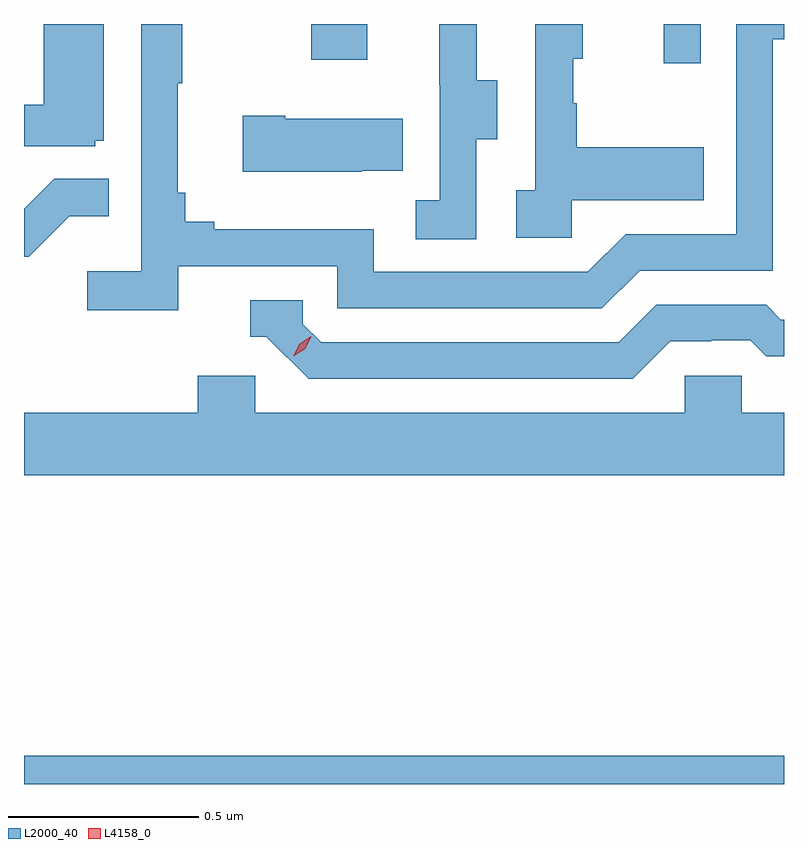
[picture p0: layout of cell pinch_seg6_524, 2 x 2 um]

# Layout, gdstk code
import gdstk
lib = gdstk.Library(unit=1e-6, precision=1e-09)
def R(c, l, rs):  # rectangles x0, y0, x1, y1
    for r in rs: c.add(gdstk.rectangle(r[:2], r[2:], *l))
def P(c, l, *ps):  # polygons
    for p in ps: c.add(gdstk.Polygon(p, *l))
L2000_40 = (2000, 40)
L4158_0 = (4158, 0)

pinch_seg6_524 = lib.new_cell('pinch_seg6_524')
R(pinch_seg6_524, L2000_40, [(862.15,923.879,864.15,923.954), (863.834,925.776,863.931,925.879), (862.906,925.785,863.053,925.879)])
P(pinch_seg6_524, L2000_40, [(862.556,925.242),(862.974,925.242),(862.974,925.131),(863.671,925.131),(863.77,925.23),(864.12,925.23),(864.12,925.839),(864.15,925.839),(864.15,925.879),(864.024,925.879),(864.024,925.326),(863.733,925.326),(863.634,925.227),(863.07,925.227),(863.07,925.339),(862.651,925.339),(862.651,925.358),(862.574,925.358),(862.574,925.435),(862.555,925.435),(862.555,925.723),(862.567,925.723),(862.567,925.879),(862.458,925.879),(862.458,925.228),(862.317,925.228),(862.317,925.126),(862.556,925.126)],
  [(863.34,925.576),(863.395,925.576),(863.395,925.731),(863.341,925.731),(863.341,925.879),(863.243,925.879),(863.243,925.719),(863.244,925.719),(863.244,925.415),(863.181,925.415),(863.181,925.312),(863.34,925.312)],
  [(862.338,925.572),(862.36,925.572),(862.36,925.879),(862.202,925.879),(862.202,925.666),(862.15,925.666),(862.15,925.557),(862.338,925.557)],
  [(863.592,925.415),(863.939,925.415),(863.939,925.555),(863.605,925.555),(863.605,925.67),(863.595,925.67),(863.595,925.788),(863.62,925.788),(863.62,925.879),(863.496,925.879),(863.496,925.442),(863.445,925.442),(863.445,925.317),(863.592,925.317)],
  [(863.039,925.493),(863.147,925.493),(863.147,925.63),(862.837,925.63),(862.837,925.638),(862.725,925.638),(862.725,925.49),(863.039,925.49)],
  [(862.269,925.373),(862.373,925.373),(862.373,925.472),(862.229,925.472),(862.15,925.393),(862.15,925.266),(862.162,925.266)],
  [(863.851,925.044),(863.958,925.044),(863.958,925.047),(864.061,925.047),(864.103,925.005),(864.15,925.005),(864.15,925.101),(864.142,925.101),(864.103,925.14),(863.814,925.14),(863.715,925.041),(862.932,925.041),(862.884,925.089),(862.884,925.152),(862.745,925.152),(862.745,925.056),(862.788,925.056),(862.899,924.945),(863.752,924.945)],
  [(863.889,924.954),(863.889,924.856),(862.758,924.856),(862.758,924.954),(862.607,924.954),(862.607,924.856),(862.15,924.856),(862.15,924.692),(864.15,924.692),(864.15,924.856),(864.039,924.856),(864.039,924.954)])
P(pinch_seg6_524, L4158_0, [(862.859,925.005),(862.859,925.005),(862.875,925.037),(862.906,925.057),(862.906,925.057),(862.906,925.056),(862.89,925.024),(862.859,925.005)])

lib.write_gds('pinch_seg6_524.gds')
